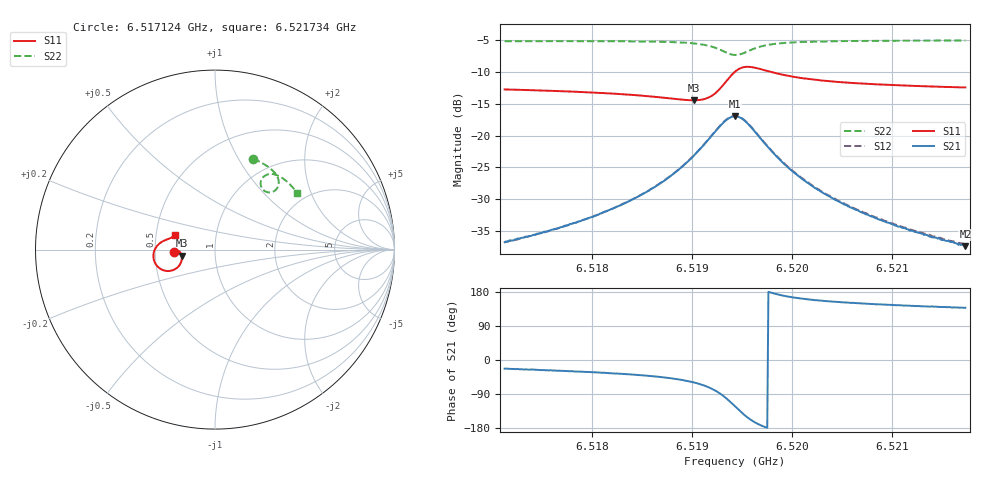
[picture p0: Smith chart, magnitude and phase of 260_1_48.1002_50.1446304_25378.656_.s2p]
#  HZ  S  RI  R  50.00
! Rohde & Schwarz Vector Network Analyzer
! Rohde-Schwarz,ZNB20-2Port,1311601062101988,3.16
! Created: UTC 12/23/2023, 4:00:40 AM
! freq[Hz]  re:S11  im:S11  re:S21  im:S21  re:S12  im:S12  re:S22  im:S22
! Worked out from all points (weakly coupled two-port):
!   401 points, 6.517124 GHz to 6.521734 GHz, reference 50 ohm
!   highest |S21| = -16.99 dB at 6.519429 GHz (marker M1); lowest = -37.3 dB at 6.521734 GHz (marker M2)
!   lowest |S11| = -14.5 dB at 6.519014 GHz (marker M3), VSWR 1.47, Z = 34.3 - j2.45 ohm
!   |S11| at or under -10 dB: start of sweep to 6.519429 GHz; 6.519781 GHz to end of sweep
!   |S22| runs from -7.4 to -5.1 dB; largest |S21 - S12| = 0.0043
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6.5171237e9  -0.2293 -0.0147  0.0134 -0.00568  0.0137 -0.00517  0.212 0.5059
6.5175502e9  -0.2244 -0.00848  0.0158 -0.00805  0.016 -0.00752  0.2434 0.492
6.517896e9  -0.2192 -0.00475  0.0185 -0.0111  0.0188 -0.0105  0.269 0.4784
6.518334e9  -0.2098 -0.0034  0.0236 -0.0179  0.0242 -0.0174  0.3018 0.457
6.5186683e9  -0.1994 -0.00849  0.0297 -0.0291  0.0307 -0.0283  0.3278 0.434
6.5188527e9  -0.1919 -0.0176  0.0335 -0.041  0.0351 -0.0401  0.3421 0.4159
6.5190141e9  -0.1857 -0.0345  0.0357 -0.0593  0.0377 -0.0585  0.3526 0.3927
6.5191178e9  -0.1851 -0.0536  0.0329 -0.0779  0.0354 -0.0774  0.3553 0.3719
6.51921e9  -0.1929 -0.0785  0.022 -0.1003  0.0253 -0.1003  0.3497 0.3485
6.5193368e9  -0.2368 -0.1154  -0.0228 -0.1292  -0.0191 -0.131  0.3153 0.3202
6.519429e9  -0.296 -0.1115  -0.0756 -0.1195  -0.0728 -0.1227  0.2742 0.3281
6.5194751e9  -0.3217 -0.0925  -0.0962 -0.1001  -0.0941 -0.1037  0.2596 0.3448
6.5195328e9  -0.3399 -0.0601  -0.1085 -0.0701  -0.1075 -0.0737  0.254 0.3696
6.519625e9  -0.3402 -0.0132  -0.1039 -0.0297  -0.1038 -0.033  0.2662 0.401
6.5197287e9  -0.3238 0.0191  -0.0862 -0.00469  -0.0869 -0.00724  0.2895 0.4172
6.5199477e9  -0.2915 0.046  -0.0561 0.0119  -0.057 0.0106  0.3296 0.4198
6.5202013e9  -0.2694 0.0559  -0.0375 0.0146  -0.0384 0.0136  0.3602 0.408
6.5203627e9  -0.2602 0.0595  -0.0305 0.0141  -0.0313 0.0136  0.3747 0.3991
6.5205817e9  -0.251 0.0632  -0.0239 0.0133  -0.0247 0.0128  0.3918 0.3864
6.5209736e9  -0.2395 0.0687  -0.0171 0.0116  -0.0175 0.0113  0.4173 0.3631
6.5214347e9  -0.2298 0.0749  -0.0123 0.01  -0.0126 0.00996  0.4427 0.3349
6.5217343e9  -0.2247 0.079  -0.0101 0.00908  -0.0107 0.00915  0.4574 0.3162
